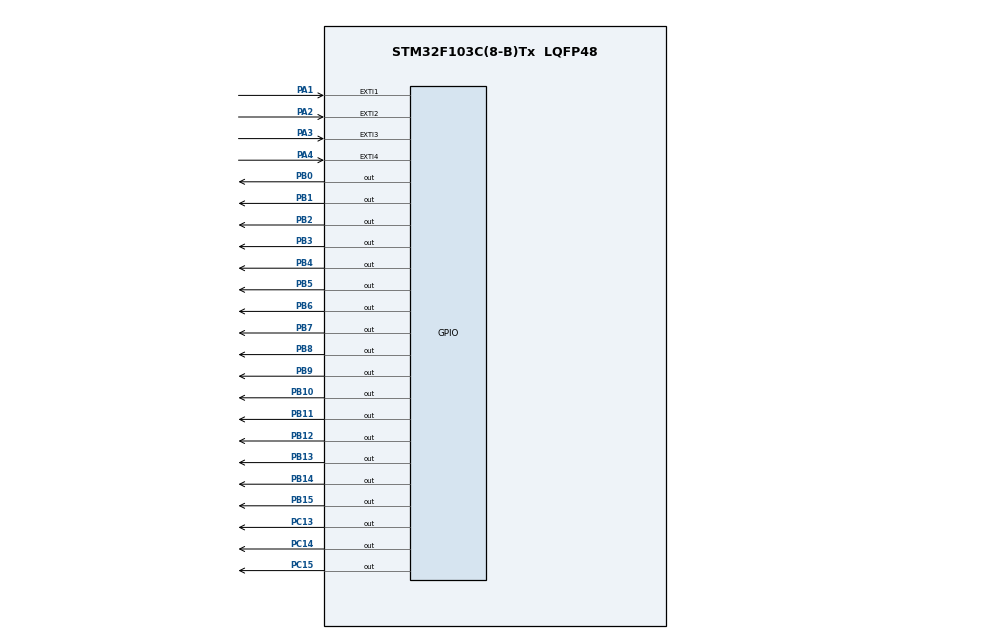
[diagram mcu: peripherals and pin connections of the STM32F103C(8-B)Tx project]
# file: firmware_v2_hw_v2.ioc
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Mcu.Family=STM32F1
Mcu.Name=STM32F103C(8-B)Tx
Mcu.Package=LQFP48
NVIC.EXTI1_IRQn=true\:0\:0\:false\:false\:true\:true\:true\:true
NVIC.EXTI2_IRQn=true\:0\:0\:false\:false\:true\:true\:true\:true
NVIC.EXTI3_IRQn=true\:0\:0\:false\:false\:true\:true\:true\:true
NVIC.EXTI4_IRQn=true\:0\:0\:false\:false\:true\:true\:true\:true
NVIC.PriorityGroup=NVIC_PRIORITYGROUP_4
NVIC.TIM1_UP_IRQn=true\:0\:0\:false\:false\:true\:true\:true\:true
NVIC.TIM2_IRQn=true\:0\:0\:false\:false\:true\:true\:true\:true
PA0-WKUP.Mode=SYS_WakeUp0
PA0-WKUP.Signal=SYS_WKUP
PA1.GPIO_ModeDefaultEXTI=GPIO_MODE_IT_RISING_FALLING
PA1.GPIO_PuPd=GPIO_PULLDOWN
PA1.Signal=GPXTI1
PA13.Mode=Serial_Wire
PA13.Signal=SYS_JTMS-SWDIO
PA14.Mode=Serial_Wire
PA14.Signal=SYS_JTCK-SWCLK
PA2.GPIO_ModeDefaultEXTI=GPIO_MODE_IT_RISING_FALLING
PA2.GPIO_PuPd=GPIO_PULLDOWN
PA2.Signal=GPXTI2
PA3.GPIO_ModeDefaultEXTI=GPIO_MODE_IT_RISING_FALLING
PA3.GPIO_PuPd=GPIO_PULLDOWN
PA3.Signal=GPXTI3
PA4.GPIO_ModeDefaultEXTI=GPIO_MODE_IT_RISING_FALLING
PA4.GPIO_PuPd=GPIO_PULLDOWN
PA4.Signal=GPXTI4
PB0.Signal=GPIO_Output
PB1.PinState=GPIO_PIN_RESET
PB1.Signal=GPIO_Output
PB10.Signal=GPIO_Output
PB11.Signal=GPIO_Output
PB12.Signal=GPIO_Output
PB13.Signal=GPIO_Output
PB14.Signal=GPIO_Output
PB15.Signal=GPIO_Output
PB2.Signal=GPIO_Output
PB3.Signal=GPIO_Output
PB4.Signal=GPIO_Output
PB5.Signal=GPIO_Output
PB6.Signal=GPIO_Output
PB7.Signal=GPIO_Output
PB8.Signal=GPIO_Output
PB9.Signal=GPIO_Output
PC13-TAMPER-RTC.PinState=GPIO_PIN_RESET
PC13-TAMPER-RTC.Signal=GPIO_Output
PC14-OSC32_IN.PinState=GPIO_PIN_SET
PC14-OSC32_IN.Signal=GPIO_Output
PC15-OSC32_OUT.Signal=GPIO_Output
ProjectManager.HeapSize=0x200
ProjectManager.StackSize=0x400
ProjectManager.TargetToolchain=STM32CubeIDE
RCC.AHBCLKDivider=RCC_SYSCLK_DIV2
RCC.AHBFreq_Value=4000000
RCC.APB1Freq_Value=4000000
RCC.APB1TimFreq_Value=4000000
RCC.APB2Freq_Value=4000000
RCC.APB2TimFreq_Value=4000000
RCC.HCLKFreq_Value=4000000
TIM1.Period=8
TIM1.Prescaler=49
TIM2.Period=20
TIM2.Prescaler=3999
VP_TIM1_VS_ClockSourceINT.Mode=Internal
VP_TIM2_VS_ClockSourceINT.Mode=Internal
board=custom

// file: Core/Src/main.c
/* USER CODE BEGIN Header */
/**
  ******************************************************************************
  * @file           : main.c
  * @brief          : Optimized Main program body for Charlieplexing (4MHz Low Power)
  * Updated for Hardware V2 Pin Assignments & 4-Button UI (19x18 Matrix)
  ******************************************************************************
  */
/* USER CODE END Header */
#include "main.h"

/* USER CODE BEGIN Includes */

#include "animations.h"

/* USER CODE END Includes */

/* USER CODE BEGIN PTD */

// 1. STRUCTURES FOR LOOKUP TABLE
// Optimized: We only need to control Port B and Port C for the LEDs now.
typedef struct {
    uint32_t PortB_CRL;
    uint32_t PortB_CRH;
    uint32_t PortB_ODR;

    uint32_t PortC_CRH;
    uint32_t PortC_ODR;
} RowRegisterState;

typedef struct {
    GPIO_TypeDef* port;
    uint8_t pinIndex;
} PinDef;

typedef struct {
    PinDef anode;
    PinDef cathodes[18]; // 19 pins total -> 1 anode, 18 cathodes
} HardwareRowDef;

/* USER CODE END PTD */

/* USER CODE BEGIN PD */
#define TICK_DELAY 0x3
// Animation playback rate, in frames per second. Set this to the FPS of the source
// video used to generate animation_data so playback matches the original speed.
// TIM2 is configured (in MX_TIM2_Init) to fire ANIM_FPS times per second and the
// frame index advances by one each tick.
#define ANIM_FPS 30
// End-of-animation heart: shown for this many frame ticks (~2 s at ANIM_FPS).
#define HEART_HOLD_TICKS (2u * ANIM_FPS)
// COLOR_DEPTH is defined in animations.h (data contract): 4 planes => 16 grey levels
#define COLOR_COUNT (1 << COLOR_DEPTH)
#define COLOR_MAX (COLOR_COUNT - 1)
// End-of-animation heart pulsation: breathes between half and full brightness.
#define HEART_PULSE_PERIOD (ANIM_FPS)         // ticks per pulse (~1 s => 2 pulses over 2 s)
#define HEART_MIN_LEVEL    ((COLOR_MAX + 1) / 2)  // ~half brightness (8 of 15)
#define HEART_MAX_LEVEL    (COLOR_MAX)         // full brightness (15)
#define ROW_COUNT 19
#define xres 18
#define yres 19
/* USER CODE END PD */

TIM_HandleTypeDef htim1;
TIM_HandleTypeDef htim2;

/* USER CODE BEGIN PV */
volatile int frame = 0;
volatile int current_frame_idx = 0;
volatile uint8_t update_frame_flag = 1;

volatile uint8_t system_active = 1;
uint32_t last_activity_time = 0;

// Animation playthrough tracking (for "sleep after one playthrough").
uint8_t animation_complete = 0;    // set by the decoder once the last frame is decoded
uint8_t animation_done_shown = 0;  // set after the end-of-animation heart has been shown
uint16_t heart_ticks = 0;          // frame ticks the end-of-animation heart has been shown

// Double-buffered to prevent tearing: PrecomputeFrame fills the back buffer, then publishes
// it with a single atomic pointer write. The TIM1 ISR always reads a complete frame.
RowRegisterState frameBufferLUT[2][ROW_COUNT][COLOR_DEPTH];
RowRegisterState (* volatile displayBuf)[COLOR_DEPTH] = frameBufferLUT[0];
uint32_t bitDuration[COLOR_DEPTH];

// Current animation frame, decoded from the compressed stream (delta+RLE) into RAM.
// Plane-major (60 words): framebuf[plane][row]. PrecomputeFrame reads from here.
uint32_t framebuf[COLOR_DEPTH][Y_RES];

// --- VARIABILI SNAKE ---
#define MODE_ANIMATION 0
#define MODE_SNAKE 1
volatile uint8_t current_mode = MODE_ANIMATION;

#define MAX_SNAKE_LEN 100
// On death: blink the board for this long (500 ms period => ~3 blinks), then stay blank.
#define GAME_OVER_BLINK_MS 1500
// ...then enter standby this long after death, so the next press wakes back to the video.
#define GAME_OVER_SLEEP_MS 2000
// Snake greyscale levels (0..COLOR_MAX). Head brightest, body dim, apple/score mid-high.
#define SNAKE_HEAD_LEVEL  COLOR_MAX
#define SNAKE_BODY_LEVEL  5
#define APPLE_LEVEL       COLOR_MAX
#define SCORE_LEVEL       9
int8_t snake_x[MAX_SNAKE_LEN];
int8_t snake_y[MAX_SNAKE_LEN];
int snake_len = 3;
int8_t dir_x = 0;
int8_t dir_y = -1; // Direzione CORRENTE (cambiata solo al passo, in UpdateSnake)
// Queued direction from the buttons, applied at the next step. A single byte
// (0=UP,1=DOWN,2=LEFT,3=RIGHT) so the button ISR updates it atomically (no torn read).
volatile int8_t pend_dir = 0;
int8_t apple_x = 5;
int8_t apple_y = 5;
volatile uint8_t game_over = 0;
uint32_t game_over_time = 0;   // HAL_GetTick() when the player died (for the short blink window)
// Snake graphics are rendered into the shared bit-plane buffer `framebuf` (greyscale),
// not a separate 1-bit board, so the head/body/apple can have different brightness levels.

// 3. HARDWARE PIN MAPPING (19 Pins Total)
// PB0-PB15, PC13-PC15 based on the v2 text file mapping
const PinDef ALL_PINS[19] = {
    {GPIOB, 0},  {GPIOB, 1},  {GPIOB, 2},  {GPIOB, 3},
    {GPIOB, 4},  {GPIOB, 5},  {GPIOB, 6},  {GPIOB, 7},
    {GPIOB, 8},  {GPIOB, 9},  {GPIOB, 10}, {GPIOB, 11},
    {GPIOB, 12}, {GPIOB, 13}, {GPIOB, 14}, {GPIOB, 15},
    {GPIOC, 13}, {GPIOC, 14}, {GPIOC, 15}
};
/* USER CODE END PV */

void SystemClock_Config(void);
static void MX_GPIO_Init(void);
static void MX_TIM1_Init(void);
static void MX_TIM2_Init(void);
/* USER CODE BEGIN PFP */

void initBitDurationLUT(void);
void GetHardwareRow(int rowIndex, HardwareRowDef *rowDef);
void PrecomputeFrame(void);

// Delta+RLE animation decoder
void DecodeReset(void);
void DecodeNextFrame(void);

// End-of-animation heart (drawn at brightness 0..COLOR_MAX)
void RenderHeart(uint8_t level);

// Prototipi Snake
void InitSnake(void);
void SpawnApple(void);
void UpdateSnake(void);
void RenderSnake(void);

/* USER CODE END PFP */

int main(void)
{

  /* MCU Configuration--------------------------------------------------------*/

  /* Reset of all peripherals, Initializes the Flash interface and the Systick. */
  HAL_Init();

  /* USER CODE BEGIN Init */

  initBitDurationLUT();

  /* USER CODE END Init */

  /* Configure the system clock */
  SystemClock_Config();

  /* Initialize all configured peripherals */
  MX_GPIO_Init();
  MX_TIM1_Init();
  MX_TIM2_Init();
  /* USER CODE BEGIN 2 */

  DecodeReset();
  DecodeNextFrame();   // decode frame 0 so the first displayed frame is correct
  PrecomputeFrame();

  HAL_TIM_Base_Start_IT(&htim1);
  HAL_TIM_Base_Start_IT(&htim2);

  /* USER CODE END 2 */

  /* Infinite loop */
  /* USER CODE BEGIN WHILE */
  last_activity_time = HAL_GetTick();
  while (1)
  {
    /* USER CODE END WHILE */

    /* USER CODE BEGIN 3 */

	  // --- SLEEP POLICY ---
	  // Animation mode: sleep once, after a single full playthrough has been shown.
	  // Snake mode:     after a game over, sleep shortly after the blink (so the next button
	  //                 press wakes back to the video); otherwise sleep after 10 s idle.
	  uint8_t should_sleep;
	  if (current_mode == MODE_ANIMATION) {
	      should_sleep = animation_done_shown;
	  } else if (game_over) {
	      should_sleep = (HAL_GetTick() - game_over_time > GAME_OVER_SLEEP_MS);
	  } else {
	      should_sleep = (HAL_GetTick() - last_activity_time > 10000);
	  }
	  if(system_active && should_sleep){
		  system_active = 0;

		  // Disable Timers to stop interrupts
		  HAL_TIM_Base_Stop_IT(&htim1);
		  HAL_TIM_Base_Stop_IT(&htim2);

		  // Turn off all LEDs (Reset ODRs to safe low state)
		  GPIOB->ODR = 0;
		  GPIOC->ODR = 0;

      //		  // Enter Stop Mode
      //		  HAL_SuspendTick();
      //		  HAL_PWR_EnterSTOPMode(PWR_LOWPOWERREGULATOR_ON, PWR_STOPENTRY_WFI);
      //
      //		  // --- WAKE UP POINT ---
      //		  SystemClock_Config(); // Restore 4 MHz clock
      //		  HAL_ResumeTick();
      //
      //		  system_active = 1;
      //		  last_activity_time = HAL_GetTick();
      //
      //		  // Restart Timers
      //		  HAL_TIM_Base_Start_IT(&htim1);
      //		  HAL_TIM_Base_Start_IT(&htim2);

		  // 1. Clear the Wake-Up flag (Ensures we don't wake up instantly)
		  __HAL_PWR_CLEAR_FLAG(PWR_FLAG_WU);

		  // 2. Enable the Wake-Up pin (PA0)
		  HAL_PWR_EnableWakeUpPin(PWR_WAKEUP_PIN1);

		  // 3. Enter Standby Mode
		  HAL_PWR_EnterSTANDBYMode();

		  // NOTE: The MCU will completely power down here.
		  // It will NEVER execute code past this line.
		  // Upon waking, it will reboot and start from the top of main()
	  }

	  // --- RENDER LOGIC ---
	  // Only calculate when TIM2 says the frame has changed
	  // if(system_active && update_frame_flag) {
		//   PrecomputeFrame();
		//   update_frame_flag = 0;
	  // }

    if(system_active && update_frame_flag) {
      if (current_mode == MODE_SNAKE) {
        static int snake_speed_divider = 0;
        // Game logic steps ~3x/sec; rendering runs every tick so the apple blinks smoothly.
        if (++snake_speed_divider >= 10) {
          UpdateSnake();
          snake_speed_divider = 0;
        }
        RenderSnake();
        PrecomputeFrame();
      } else if (animation_complete) {
        // Animation finished: show the heart for ~2 s while pulsing (breathing) between half
        // and full brightness, then flag for sleep. Re-rendered each tick (brightness changes).
        uint16_t phase = heart_ticks % HEART_PULSE_PERIOD;
        uint16_t half  = HEART_PULSE_PERIOD / 2u;
        uint16_t tri   = (phase < half) ? phase : (HEART_PULSE_PERIOD - phase);  // 0..half triangle
        uint8_t  level = HEART_MIN_LEVEL +
                         (uint8_t)(((HEART_MAX_LEVEL - HEART_MIN_LEVEL) * tri) / half);
        RenderHeart(level);
        PrecomputeFrame();
        if (++heart_ticks >= HEART_HOLD_TICKS) animation_done_shown = 1;
      } else {
        DecodeNextFrame();   // advance one frame (sets animation_complete after the last)
        PrecomputeFrame();
      }
      update_frame_flag = 0;
    }
  }
  /* USER CODE END 3 */
}

void SystemClock_Config(void)
{
  RCC_OscInitTypeDef RCC_OscInitStruct = {0};
  RCC_ClkInitTypeDef RCC_ClkInitStruct = {0};

  /** Initializes the RCC Oscillators according to the specified parameters
  * in the RCC_OscInitTypeDef structure.
  */
  RCC_OscInitStruct.OscillatorType = RCC_OSCILLATORTYPE_HSI;
  RCC_OscInitStruct.HSIState = RCC_HSI_ON;
  RCC_OscInitStruct.HSICalibrationValue = RCC_HSICALIBRATION_DEFAULT;
  RCC_OscInitStruct.PLL.PLLState = RCC_PLL_NONE;
  if (HAL_RCC_OscConfig(&RCC_OscInitStruct) != HAL_OK)
  {
    Error_Handler();
  }

  /** Initializes the CPU, AHB and APB buses clocks
  */
  RCC_ClkInitStruct.ClockType = RCC_CLOCKTYPE_HCLK|RCC_CLOCKTYPE_SYSCLK
                              |RCC_CLOCKTYPE_PCLK1|RCC_CLOCKTYPE_PCLK2;
  RCC_ClkInitStruct.SYSCLKSource = RCC_SYSCLKSOURCE_HSI;
  RCC_ClkInitStruct.AHBCLKDivider = RCC_SYSCLK_DIV2;
  RCC_ClkInitStruct.APB1CLKDivider = RCC_HCLK_DIV1;
  RCC_ClkInitStruct.APB2CLKDivider = RCC_HCLK_DIV1;

  if (HAL_RCC_ClockConfig(&RCC_ClkInitStruct, FLASH_LATENCY_0) != HAL_OK)
  {
    Error_Handler();
  }
}

static void MX_TIM1_Init(void)
{

  TIM_ClockConfigTypeDef sClockSourceConfig = {0};
  TIM_MasterConfigTypeDef sMasterConfig = {0};

  htim1.Instance = TIM1;
  htim1.Init.Prescaler = 49;
  htim1.Init.CounterMode = TIM_COUNTERMODE_UP;
  htim1.Init.Period = 8;
  htim1.Init.ClockDivision = TIM_CLOCKDIVISION_DIV1;
  htim1.Init.RepetitionCounter = 0;
  htim1.Init.AutoReloadPreload = TIM_AUTORELOAD_PRELOAD_DISABLE;
  if (HAL_TIM_Base_Init(&htim1) != HAL_OK)
  {
    Error_Handler();
  }
  sClockSourceConfig.ClockSource = TIM_CLOCKSOURCE_INTERNAL;
  if (HAL_TIM_ConfigClockSource(&htim1, &sClockSourceConfig) != HAL_OK)
  {
    Error_Handler();
  }
  sMasterConfig.MasterOutputTrigger = TIM_TRGO_RESET;
  sMasterConfig.MasterSlaveMode = TIM_MASTERSLAVEMODE_DISABLE;
  if (HAL_TIMEx_MasterConfigSynchronization(&htim1, &sMasterConfig) != HAL_OK)
  {
    Error_Handler();
  }

}

static void MX_TIM2_Init(void)
{

  TIM_ClockConfigTypeDef sClockSourceConfig = {0};
  TIM_MasterConfigTypeDef sMasterConfig = {0};

  htim2.Instance = TIM2;
  // TIM2 clock = 4 MHz. Prescaler 99 -> 40 kHz tick. Period = 40000/ANIM_FPS - 1
  // gives an update (interrupt) ANIM_FPS times per second; one frame advances per tick.
  htim2.Init.Prescaler = 99;
  htim2.Init.CounterMode = TIM_COUNTERMODE_UP;
  htim2.Init.Period = (40000U / ANIM_FPS) - 1;
  htim2.Init.ClockDivision = TIM_CLOCKDIVISION_DIV1;
  htim2.Init.AutoReloadPreload = TIM_AUTORELOAD_PRELOAD_DISABLE;
  if (HAL_TIM_Base_Init(&htim2) != HAL_OK)
  {
    Error_Handler();
  }
  sClockSourceConfig.ClockSource = TIM_CLOCKSOURCE_INTERNAL;
  if (HAL_TIM_ConfigClockSource(&htim2, &sClockSourceConfig) != HAL_OK)
  {
    Error_Handler();
  }
  sMasterConfig.MasterOutputTrigger = TIM_TRGO_RESET;
  sMasterConfig.MasterSlaveMode = TIM_MASTERSLAVEMODE_DISABLE;
  if (HAL_TIMEx_MasterConfigSynchronization(&htim2, &sMasterConfig) != HAL_OK)
  {
    Error_Handler();
  }

}

static void MX_GPIO_Init(void)
{
  GPIO_InitTypeDef GPIO_InitStruct = {0};

  /* GPIO Ports Clock Enable */
  __HAL_RCC_GPIOC_CLK_ENABLE();
  __HAL_RCC_GPIOA_CLK_ENABLE();
  __HAL_RCC_GPIOB_CLK_ENABLE();

  /*Configure GPIO pin Output Level */
  HAL_GPIO_WritePin(GPIOC, GPIO_PIN_13|GPIO_PIN_15, GPIO_PIN_RESET);

  /*Configure GPIO pin Output Level */
  HAL_GPIO_WritePin(GPIOC, GPIO_PIN_14, GPIO_PIN_SET);

  /*Configure GPIO pin Output Level */
  HAL_GPIO_WritePin(GPIOB, GPIO_PIN_0|GPIO_PIN_1|GPIO_PIN_2|GPIO_PIN_10
                          |GPIO_PIN_11|GPIO_PIN_12|GPIO_PIN_13|GPIO_PIN_14
                          |GPIO_PIN_15|GPIO_PIN_3|GPIO_PIN_4|GPIO_PIN_5
                          |GPIO_PIN_6|GPIO_PIN_7|GPIO_PIN_8|GPIO_PIN_9, GPIO_PIN_RESET);

  /*Configure GPIO pins : PC13 PC14 PC15 */
  GPIO_InitStruct.Pin = GPIO_PIN_13|GPIO_PIN_14|GPIO_PIN_15;
  GPIO_InitStruct.Mode = GPIO_MODE_OUTPUT_PP;
  GPIO_InitStruct.Pull = GPIO_NOPULL;
  GPIO_InitStruct.Speed = GPIO_SPEED_FREQ_LOW;
  HAL_GPIO_Init(GPIOC, &GPIO_InitStruct);

  /*Configure GPIO pins : PA1 PA2 PA3 PA4 */
  GPIO_InitStruct.Pin = GPIO_PIN_1|GPIO_PIN_2|GPIO_PIN_3|GPIO_PIN_4;
  GPIO_InitStruct.Mode = GPIO_MODE_IT_RISING_FALLING;
  GPIO_InitStruct.Pull = GPIO_PULLDOWN;
  HAL_GPIO_Init(GPIOA, &GPIO_InitStruct);

  /*Configure GPIO pins : PB0 PB1 PB2 PB10
                           PB11 PB12 PB13 PB14
                           PB15 PB3 PB4 PB5
                           PB6 PB7 PB8 PB9 */
  GPIO_InitStruct.Pin = GPIO_PIN_0|GPIO_PIN_1|GPIO_PIN_2|GPIO_PIN_10
                          |GPIO_PIN_11|GPIO_PIN_12|GPIO_PIN_13|GPIO_PIN_14
                          |GPIO_PIN_15|GPIO_PIN_3|GPIO_PIN_4|GPIO_PIN_5
                          |GPIO_PIN_6|GPIO_PIN_7|GPIO_PIN_8|GPIO_PIN_9;
  GPIO_InitStruct.Mode = GPIO_MODE_OUTPUT_PP;
  GPIO_InitStruct.Pull = GPIO_NOPULL;
  GPIO_InitStruct.Speed = GPIO_SPEED_FREQ_LOW;
  HAL_GPIO_Init(GPIOB, &GPIO_InitStruct);

  /* EXTI interrupt init*/
  HAL_NVIC_SetPriority(EXTI1_IRQn, 0, 0);
  HAL_NVIC_EnableIRQ(EXTI1_IRQn);

  HAL_NVIC_SetPriority(EXTI2_IRQn, 0, 0);
  HAL_NVIC_EnableIRQ(EXTI2_IRQn);

  HAL_NVIC_SetPriority(EXTI3_IRQn, 0, 0);
  HAL_NVIC_EnableIRQ(EXTI3_IRQn);

  HAL_NVIC_SetPriority(EXTI4_IRQn, 0, 0);
  HAL_NVIC_EnableIRQ(EXTI4_IRQn);

}

/* USER CODE BEGIN 4 */

// Lean TIM1 display update: runs from the bare-metal TIM1_UP_IRQHandler (NOT via HAL) so
// the per-interrupt overhead is a few microseconds instead of ~15-25 us. That low overhead
// is what lets the LSB bit-plane be short enough to fit 4 planes (16 levels) at ~60 Hz with
// good low-brightness linearity. Called once per (row, bit-plane) display slot.
void TIM1_DisplayUpdate(void)
{
    static int row = 0;
    static int bit = 0;

    RowRegisterState *state = &displayBuf[row][bit];

    // --- BLANKING E AGGIORNAMENTO SICURO ---
    // 1. Spegni tutti i LED mettendo le porte in Input Fluttuante (High-Z)
    // 0x44444444 è il reset value per Floating Input sull'STM32F1
    GPIOB->CRL = 0x44444444;
    GPIOB->CRH = 0x44444444;
    GPIOC->CRH = 0x44444444;

    // 2. Pre-carica i nuovi valori logici mentre i pin sono scollegati
    GPIOB->ODR = state->PortB_ODR;
    GPIOC->ODR = state->PortC_ODR;

    // 3. Attiva la nuova configurazione delle direzioni (Accende i nuovi LED)
    GPIOB->CRL = state->PortB_CRL;
    GPIOB->CRH = state->PortB_CRH;
    GPIOC->CRH = state->PortC_CRH;

    // 4. Advance Counters
    row++;
    if(row >= ROW_COUNT)
    {
        row = 0;
        bit++;
        if(bit >= COLOR_DEPTH) bit = 0;

        TIM1->ARR = bitDuration[bit];
    }
}

void HAL_TIM_PeriodElapsedCallback(TIM_HandleTypeDef* htim)
{
    // TIM1 is handled by the lean bare-metal ISR (TIM1_DisplayUpdate); only TIM2 is here.
    if(htim->Instance == TIM2)
    {
        // TIM2 fires ANIM_FPS times per second. The main loop decodes + advances one
        // animation frame per tick, so playback runs at the source video's frame rate.
        update_frame_flag = 1;
    }
}

void PrecomputeFrame(void) {
    const uint32_t DEFAULT_CRL = 0x44444444;
    const uint32_t DEFAULT_CRH = 0x44444444;

    static int backIdx = 1;                                    // buffer NOT being displayed
    RowRegisterState (*buf)[COLOR_DEPTH] = frameBufferLUT[backIdx];

    // Decide the game-over blink once per frame (not per pixel) so a row can't be half-blanked.
    // On death, blink for GAME_OVER_BLINK_MS (~3 flashes); after that, stay blank.
    uint8_t go_blank = 0;
    if (current_mode == MODE_SNAKE && game_over) {
        uint32_t go_elapsed = HAL_GetTick() - game_over_time;
        go_blank = (go_elapsed >= GAME_OVER_BLINK_MS) || (HAL_GetTick() % 500 < 250);
    }

    HardwareRowDef rowHardware;

    for(int row = 0; row < ROW_COUNT; row++) {
        GetHardwareRow(row, &rowHardware);

        for(int bitPlane = 0; bitPlane < COLOR_DEPTH; bitPlane++) {

            RowRegisterState *state = &buf[row][bitPlane];

            // 1. Reset State to Safe Defaults (Inputs floating)
            state->PortB_CRL = DEFAULT_CRL;
            state->PortB_CRH = DEFAULT_CRH;
            state->PortB_ODR = 0;

            state->PortC_CRH = DEFAULT_CRH;
            state->PortC_ODR = 0;

            // 2. Configure ANODE (Active High)
            PinDef anode = rowHardware.anode;

            // Determine Port Pointers for B & C
            uint32_t *crl = (anode.pinIndex < 8) ? ((anode.port == GPIOB) ? &state->PortB_CRL : NULL)
                                                 : ((anode.port == GPIOB) ? &state->PortB_CRH : &state->PortC_CRH);

            uint32_t *odr = (anode.port == GPIOB) ? &state->PortB_ODR : &state->PortC_ODR;

            if(crl) {
                uint8_t shift = (anode.pinIndex % 8) * 4;
                *crl &= ~(0xF << shift);
                *crl |=  (0x2 << shift); // Output 2MHz Push-Pull
                *odr |=  (1 << anode.pinIndex); // Set HIGH
            }

            // 3. Configure CATHODES (Active Low)

			// Greyscale (Binary Code Modulation): for THIS bit plane, light only the pixels
			// whose brightness has bit `bitPlane` set. The data is pre-decomposed into planes.
			uint32_t rowData;
            if (current_mode == MODE_ANIMATION) {
                // Applica lo specchio sull'asse Y per orientare correttamente l'animazione
                // (row=0 su scheda = in basso, row=0 su array = in alto)
                rowData = framebuf[bitPlane][(ROW_COUNT - 1) - row];
            } else {
                // Gioco: la grafica (con luminosità per testa/corpo/mela) è renderizzata
                // nei piani di bit di framebuf da RenderSnake(); stessa orientazione di prima.
                rowData = go_blank ? 0u : framebuf[bitPlane][row];
            }

            for(int col = 0; col < xres; col++) {
                if((rowData >> col) & 0x01) {
                    PinDef cathode = rowHardware.cathodes[col];

                    uint32_t *c_crl = (cathode.pinIndex < 8) ? ((cathode.port == GPIOB) ? &state->PortB_CRL : NULL)
                                                             : ((cathode.port == GPIOB) ? &state->PortB_CRH : &state->PortC_CRH);

                    uint32_t *c_odr = (cathode.port == GPIOB) ? &state->PortB_ODR : &state->PortC_ODR;

                    if(c_crl) {
                        uint8_t c_shift = (cathode.pinIndex % 8) * 4;
                        *c_crl &= ~(0xF << c_shift);
                        *c_crl |=  (0x2 << c_shift); // Output 2MHz
                        *c_odr &= ~(1 << cathode.pinIndex); // Set LOW
                    }
                }
            }
        }
    }

    // Publish the finished frame atomically (single aligned pointer write) and flip buffers.
    displayBuf = buf;
    backIdx ^= 1;
}

// Helper to map Row Index -> Hardware Pins (1 Anode, 18 Cathodes)
void GetHardwareRow(int rowIndex, HardwareRowDef *rowDef) {
    int anodeIndex = 18 - rowIndex; // Reverse order mapping as done previously
    rowDef->anode = ALL_PINS[anodeIndex];

    int cathodeCount = 0;
    for (int i = 0; i < 19; i++) {
        if (i == anodeIndex) continue;
        rowDef->cathodes[cathodeCount++] = ALL_PINS[i];
    }
}

// --- Delta+RLE animation decoder -------------------------------------------------
// Frames are stored as a temporal XOR delta (vs the previous frame) that is run-length
// encoded. Decoding is sequential: each call advances framebuf by one frame. The frame
// before frame 0 is all-zero, so on loop we just clear framebuf and rewind to byte 0.
//   control byte: bit7=0 -> zero run of (low7+1) unchanged words
//                 bit7=1 -> literal run of (low7+1) changed words, 3 bytes each (24-bit LE)
static uint32_t rle_pos = 0;        // read cursor into anim_rle[]
static uint16_t frames_decoded = 0;

void DecodeReset(void) {
    uint32_t *w = (uint32_t*)framebuf;
    for (int i = 0; i < COLOR_DEPTH * Y_RES; i++) w[i] = 0;
    rle_pos = 0;
    frames_decoded = 0;
    animation_complete = 0;
    animation_done_shown = 0;
    heart_ticks = 0;
}

// Draw a filled 6x6 heart in the bottom-right corner, into framebuf, at brightness `level`
// (0..COLOR_MAX). Heart rows are 6-bit patterns (bit 0 = left), placed flush to the corner:
//   columns -> bits 12..17 (rightmost 6 of the 18 columns)
//   rows    -> framebuf rows 13..18 (bottom 6 of 19; framebuf row 0 = top after the Y mirror)
// Brightness via BCM: set the pixel on plane p only if bit p of `level` is set.
void RenderHeart(uint8_t level) {
    static const uint16_t heart[6] = {
        0x12, // .#..#.
        0x3F, // ######
        0x3F, // ######
        0x3F, // ######
        0x1E, // .####.
        0x0C  // ..##..
    };
    uint32_t *w = (uint32_t*)framebuf;
    for (int i = 0; i < COLOR_DEPTH * Y_RES; i++) w[i] = 0;   // clear screen
    for (int r = 0; r < 6; r++) {
        uint32_t rowbits = ((uint32_t)heart[r]) << 12;         // shift to the right edge
        for (int p = 0; p < COLOR_DEPTH; p++) {
            if ((level >> p) & 1u) {
                framebuf[p][13 + r] |= rowbits;                // bottom rows; plane set per brightness bit
            }
        }
    }
}

void DecodeNextFrame(void) {
    if (frames_decoded >= ANIMATION_FRAMES) DecodeReset();   // loop the animation

    uint32_t *w = (uint32_t*)framebuf;   // 60 words, plane-major
    int idx = 0;
    while (idx < COLOR_DEPTH * Y_RES) {
        uint8_t ctrl = anim_rle[rle_pos++];
        int cnt = (ctrl & 0x7F) + 1;
        if (ctrl & 0x80) {               // literal run: cnt changed words
            while (cnt--) {
                uint32_t v = (uint32_t)anim_rle[rle_pos]
                           | ((uint32_t)anim_rle[rle_pos + 1] << 8)
                           | ((uint32_t)anim_rle[rle_pos + 2] << 16);
                rle_pos += 3;
                w[idx++] ^= v;           // apply XOR delta against previous frame
            }
        } else {                          // zero run: cnt unchanged words
            idx += cnt;
        }
    }
    frames_decoded++;
    if (frames_decoded >= ANIMATION_FRAMES) animation_complete = 1;  // last frame decoded
}

void initBitDurationLUT(void){
    // Binary Code Modulation: each plane is shown for a time proportional to its bit weight.
    // Timer tick = 12.5us (TIM1 @ 80kHz). The total display time per frame scales as
    // (2^COLOR_DEPTH - 1) * base * ROW_COUNT.  With base 5 and COLOR_DEPTH 4:
    //   planes last 62.5 / 125 / 250 / 500 us; frame = 19 * (5+10+20+40) ticks * 12.5us
    //   ~= 17.8 ms => ~56 Hz (no visible flicker). The lean TIM1 ISR keeps the 62.5us
    //   LSB linear (interrupt overhead is now a few us, not ~15-25us).
    // (For COLOR_DEPTH 3 a base of 10 gives the same ~60 Hz.)
    const uint32_t base = (COLOR_DEPTH >= 4) ? 5u : 10u;
    for(uint32_t i = 0; i < COLOR_DEPTH; i++){
        bitDuration[i] = base * (1 << i);
    }
}

// Update activity timer when ANY button (PA0-PA4) triggers an EXTI
void HAL_GPIO_EXTI_Callback(uint16_t GPIO_Pin)
{
    // // PA0-PA4 are the newly assigned buttons
    // if (GPIO_Pin == GPIO_PIN_0 || GPIO_Pin == GPIO_PIN_1 || GPIO_Pin == GPIO_PIN_2 || GPIO_Pin == GPIO_PIN_3 || GPIO_Pin == GPIO_PIN_4)
    // {
    //     last_activity_time = HAL_GetTick();
    // }

	// Solo sui trigger di pressione positiva (evita di triggerare al rilascio)
    if (HAL_GPIO_ReadPin(GPIOA, GPIO_Pin) == GPIO_PIN_SET)
    {
        last_activity_time = HAL_GetTick();

        if (current_mode == MODE_ANIMATION) {
            // Qualsiasi pulsante preme avvia il gioco
            current_mode = MODE_SNAKE;
            InitSnake();
        } else {
            // Dopo un game over i pulsanti non fanno nulla: la scheda va in standby (~2 s)
            // e la pressione successiva la risveglia facendo ripartire il video.
            if (game_over) {
                return;
            }

            // NOTA: Adatta l'assegnazione PA1-PA4 a Su/Giù/Sx/Dx a seconda del tuo layout fisico.
            // Set the QUEUED direction only; UpdateSnake() commits it at the next step and
            // rejects 180-degree reversals, so quick multi-presses can't kill the snake.
            if (GPIO_Pin == GPIO_PIN_2) pend_dir = 0; // UP
            if (GPIO_Pin == GPIO_PIN_3) pend_dir = 1; // DOWN
            if (GPIO_Pin == GPIO_PIN_1) pend_dir = 2; // LEFT
            if (GPIO_Pin == GPIO_PIN_4) pend_dir = 3; // RIGHT
        }
    }
}

void SpawnApple(void) {
    static uint32_t prng_state = 0x12345678;
    // Iniettiamo entropia ad ogni chiamata in base al tempo esatto
    prng_state ^= HAL_GetTick();

    for (int tries = 0; tries < 200; tries++) {
        // Generatore Xorshift pseudo-casuale a 32 bit
        prng_state ^= prng_state << 13;
        prng_state ^= prng_state >> 17;
        prng_state ^= prng_state << 5;

        // Estraiamo bit completamente indipendenti per X e Y, senza correlazioni
        apple_x = (prng_state & 0xFF) % (xres / 2);
        apple_y = ((prng_state >> 8) & 0xFF) % (ROW_COUNT / 2);

        // Evita di spawnare la mela sotto al punteggio (in alto a destra)
        if (apple_x >= 5 && apple_y >= 6) continue;

        // Evita di spawnare la mela sopra il serpente
        int on_snake = 0;
        for (int i = 0; i < snake_len; i++) {
            if (snake_x[i] == apple_x && snake_y[i] == apple_y) { on_snake = 1; break; }
        }
        if (on_snake) continue;

        return; // Posizione valida trovata
    }
    // Fallback (scacchiera quasi piena): accetta l'ultima posizione generata.
}

void InitSnake(void) {
    snake_len = 3;
    // Partenza al centro dello schermo logico (x=4, y=4)
    snake_x[0] = 4; snake_y[0] = 4;
    snake_x[1] = 4; snake_y[1] = 5;
    snake_x[2] = 4; snake_y[2] = 6;
    dir_x = 0; dir_y = -1; pend_dir = 0; // Muove verso l'alto
    SpawnApple();
    game_over = 0;
}

void UpdateSnake(void) {
    if (game_over) return;

    // Apply the queued direction once per step, but never a 180-degree reversal into the
    // neck. Validating here (against the committed dir) makes fast multi-presses between
    // steps safe -- they can't flip the snake back on itself.
    static const int8_t DIRX[4] = { 0,  0, -1,  1 };  // UP, DOWN, LEFT, RIGHT
    static const int8_t DIRY[4] = {-1,  1,  0,  0 };
    int8_t ndx = DIRX[pend_dir], ndy = DIRY[pend_dir];
    if (!(ndx == -dir_x && ndy == -dir_y)) {
        dir_x = ndx; dir_y = ndy;
    }

    // 1. Muovi il corpo
    for (int i = snake_len - 1; i > 0; i--) {
        snake_x[i] = snake_x[i-1];
        snake_y[i] = snake_y[i-1];
    }

    // 2. Muovi la testa
    snake_x[0] += dir_x;
    snake_y[0] += dir_y;

    // 3. Collisione con i muri
    if (snake_x[0] < 0 || snake_x[0] >= (xres / 2) || snake_y[0] < 0 || snake_y[0] >= (ROW_COUNT / 2)) {
        game_over = 1;
        game_over_time = HAL_GetTick();
        return;
    }

    // 4. Collisione con se stesso
    for (int i = 1; i < snake_len; i++) {
        if (snake_x[0] == snake_x[i] && snake_y[0] == snake_y[i]) {
            game_over = 1;
            game_over_time = HAL_GetTick();
            return;
        }
    }

    // 5. Mangia la mela
    if (snake_x[0] == apple_x && snake_y[0] == apple_y) {
        if (snake_len < MAX_SNAKE_LEN) {
            // Seed the new tail segment on top of the current tail, otherwise it would be
            // drawn at a stale/garbage position for one step (a stray lit cell). It
            // separates naturally on the next move.
            snake_x[snake_len] = snake_x[snake_len - 1];
            snake_y[snake_len] = snake_y[snake_len - 1];
            snake_len++;
        }
        SpawnApple();
    }

    // Rendering happens every tick in RenderSnake(); UpdateSnake() is game logic only.
}

// ---- Snake rendering (greyscale) -------------------------------------------------
// Draw helpers write into the shared bit-plane buffer `framebuf` at an exact brightness
// level (0..COLOR_MAX). Snake uses the UNMIRRORED orientation that PrecomputeFrame's game
// branch reads (framebuf[plane][row]).
static void PlotPixel(int x, int y, uint8_t level) {
    uint32_t m = 1u << x;
    for (int p = 0; p < COLOR_DEPTH; p++) {
        if ((level >> p) & 1u) framebuf[p][y] |=  m;
        else                   framebuf[p][y] &= ~m;
    }
}

// Logical game cell (lx,ly) -> 2x2 pixel block.
static void PlotCell(int lx, int ly, uint8_t level) {
    uint32_t m = 3u << (lx * 2);
    int r0 = ly * 2, r1 = ly * 2 + 1;
    for (int p = 0; p < COLOR_DEPTH; p++) {
        if ((level >> p) & 1u) { framebuf[p][r0] |=  m; framebuf[p][r1] |=  m; }
        else                   { framebuf[p][r0] &= ~m; framebuf[p][r1] &= ~m; }
    }
}

void RenderSnake(void) {
    static const uint8_t font3x5[10][5] = {
        {0x7, 0x5, 0x5, 0x5, 0x7}, {0x2, 0x3, 0x2, 0x2, 0x7},
        {0x7, 0x4, 0x7, 0x1, 0x7}, {0x7, 0x4, 0x7, 0x4, 0x7},
        {0x5, 0x5, 0x7, 0x4, 0x4}, {0x7, 0x1, 0x7, 0x4, 0x7},
        {0x7, 0x1, 0x7, 0x5, 0x7}, {0x7, 0x4, 0x4, 0x4, 0x4},
        {0x7, 0x5, 0x7, 0x5, 0x7}, {0x7, 0x5, 0x7, 0x4, 0x7}
    };

    // Clear the frame buffer.
    uint32_t *w = (uint32_t*)framebuf;
    for (int i = 0; i < COLOR_DEPTH * Y_RES; i++) w[i] = 0;

    // Apple: blink so it reads differently from the body.
    if ((HAL_GetTick() % 500) < 350) PlotCell(apple_x, apple_y, APPLE_LEVEL);

    // Body (dim) then head (bright) so the head wins any overlap.
    for (int i = 1; i < snake_len; i++) PlotCell(snake_x[i], snake_y[i], SNAKE_BODY_LEVEL);
    PlotCell(snake_x[0], snake_y[0], SNAKE_HEAD_LEVEL);

    // Score, top-right, single-pixel 3x5 font, drawn last (sits on top).
    int score = snake_len - 3;
    if (score < 0) score = 0;
    if (score > 99) score = 99;
    int tens = score / 10, ones = score % 10;
    for (int r = 0; r < 5; r++) {
        int by = 18 - r;                 // top rows (unmirrored)
        for (int c = 0; c < 3; c++) {
            if (score >= 10 && ((font3x5[tens][r] >> c) & 1)) PlotPixel(11 + c, by, SCORE_LEVEL);
            if ((font3x5[ones][r] >> c) & 1)                  PlotPixel(15 + c, by, SCORE_LEVEL);
        }
    }
}

/* USER CODE END 4 */

void Error_Handler(void)
{
  __disable_irq();
  while (1)
  {
  }
}
